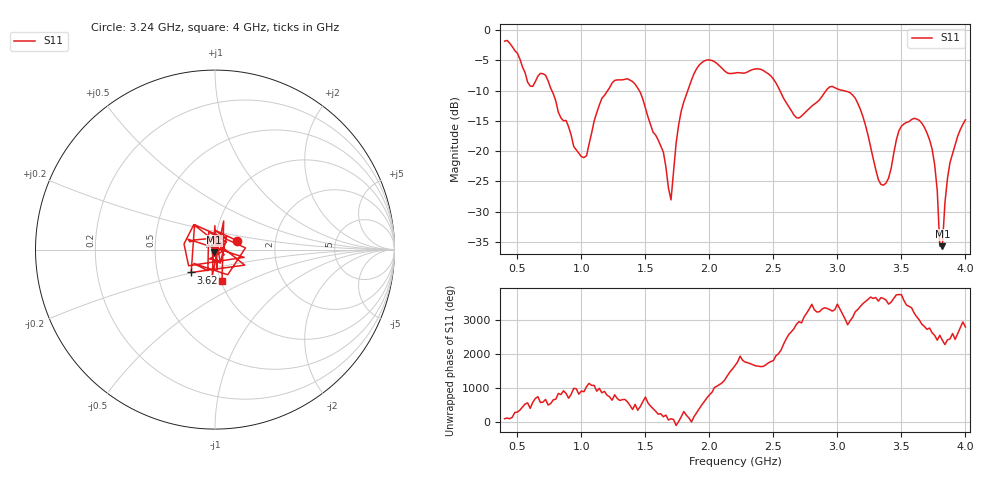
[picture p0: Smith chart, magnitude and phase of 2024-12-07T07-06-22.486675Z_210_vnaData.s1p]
!Created with skrf (http://scikit-rf.org).
# Hz S RI R 50.0
!freq ReS11 ImS11
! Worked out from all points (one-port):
!   181 points, 400 MHz to 4 GHz, reference 50 ohm
!   lowest |S11| = -35.7 dB at 3.82 GHz (marker M1), VSWR 1.03, Z = 49.5 - j1.54 ohm
!   |S11| at or under -10 dB: 768.7 MHz to 1.205 GHz (436.7 MHz wide, 44.2 % of centre); 1.452 GHz to 1.831 GHz (379.3 MHz wide, 23.1 % of centre); 3.047 GHz to end of sweep (the widest 3 of 4)
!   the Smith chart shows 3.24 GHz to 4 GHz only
!   S11 on the Smith chart (normalised r, x): 3.24 GHz: 1.28, +0.13; 3.62 GHz: 0.74, -0.20; 4 GHz: 1.01, -0.37
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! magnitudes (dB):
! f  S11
! 400 MHz  -1.8
! 600 MHz  -9.2
! 720 MHz  -7.5
! 860 MHz  -15.0
! 1.04 GHz  -20.8
! 1.16 GHz  -11.3
! 1.3 GHz  -8.2
! 1.46 GHz  -10.3
! 1.64 GHz  -20.1
! 1.7 GHz  -28.0
! 1.76 GHz  -15.6
! 1.94 GHz  -5.4
! 2.2 GHz  -7.1
! 2.46 GHz  -7.2
! 2.66 GHz  -14.0
! 3.1 GHz  -10.4
! 3.24 GHz  -17.4
! 3.36 GHz  -25.6
! 3.48 GHz  -16.7
! 3.56 GHz  -15.1
! 3.62 GHz  -14.7
! 3.74 GHz  -19.7
! 3.78 GHz  -26.5
! 3.8 GHz  -35.7
! 3.82 GHz  -35.7
! 3.84 GHz  -28.6
! 3.88 GHz  -21.9
! 4 GHz  -14.8
